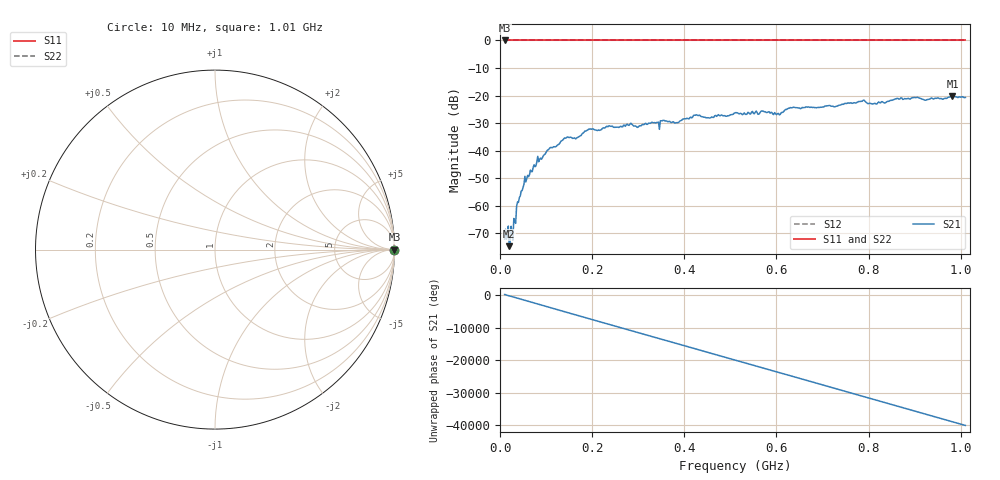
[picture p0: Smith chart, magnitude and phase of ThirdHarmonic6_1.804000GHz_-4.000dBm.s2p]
! 8/16/2025 9:50:19 PM
! C:\ANRITSUVNA\TEMP\TEMP.S2P
! CHANNEL.1
! TR.MEASUREMENT
! RAW.DATA
! RF.CORRECTION.OFF
! AVERAGING.OFF
! IF.BANDWIDTH: 5KHZ
! SWEEPTYPE:  FREQ.SWEEP(Linear)
! Reference Plane Port Info
! PORT:  PORT1  PORT2
! DISTANCE:  0  m  0  m
! TIME:  0  s  0  s
! PHASE.OFFSET:  0  deg.  0  deg.
! LOSS:  0  dB  0  dB
! REF.LOSS:  0  dB  0  dB
! REF.FREQ:  0  Hz  0  Hz
! Power Info
! POWER:  -20  dBm  -20  dBm
! EFF.POWER:  -20  dBm  -20  dBm
! SOURCE.ATTEN:  0  dB  0  dB
! TEST.ATTEN:  0  dB  0  dB
# GHZ S RI R 50.0
! FREQ.GHZ  S11RE  S11IM  S21RE  S21IM  S12RE  S12IM  S22RE  S22IM
!; PortSelection: Port_12
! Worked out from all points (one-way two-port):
!   501 points, 10 MHz to 1.01 GHz, reference 50 ohm
!   highest |S21| = -20.31 dB at 982 MHz (marker M1); lowest = -74.7 dB at 20 MHz (marker M2)
!   lowest |S11| = 0.0 dB at 10 MHz (marker M3)
!   |S11| at or under -10 dB: nowhere
!   |S22| runs from 0.0 to 0.0 dB; largest |S21 - S12| = 1.1
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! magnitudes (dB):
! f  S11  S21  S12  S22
! 10 MHz  0.0  -72.1  0.0  0.0
! 20 MHz  0.0  -74.7  0.0  0.0
! 24 MHz  0.0  -67.5  0.0  0.0
! 30 MHz  0.0  -64.6  0.0  0.0
! 40 MHz  0.0  -58.8  0.0  0.0
! 50 MHz  0.0  -53.4  0.0  0.0
! 78 MHz  0.0  -45.5  0.0  0.0
! 106 MHz  0.0  -39.5  0.0  0.0
! 142 MHz  0.0  -35.5  0.0  0.0
! 178 MHz  0.0  -33.9  0.0  0.0
! 234 MHz  0.0  -31.3  0.0  0.0
! 344 MHz  0.0  -29.7  0.0  0.0
! 384 MHz  0.0  -29.9  0.0  0.0
! 424 MHz  0.0  -27.2  0.0  0.0
! 452 MHz  0.0  -28.1  0.0  0.0
! 510 MHz  0.0  -26.3  0.0  0.0
! 604 MHz  0.0  -26.5  0.0  0.0
! 632 MHz  0.0  -24.4  0.0  0.0
! 678 MHz  0.0  -24.3  0.0  0.0
! 844 MHz  0.0  -22.1  0.0  0.0
! 982 MHz  0.0  -20.3  0.0  0.0
! 1.01 GHz  0.0  -20.7  0.0  0.0
